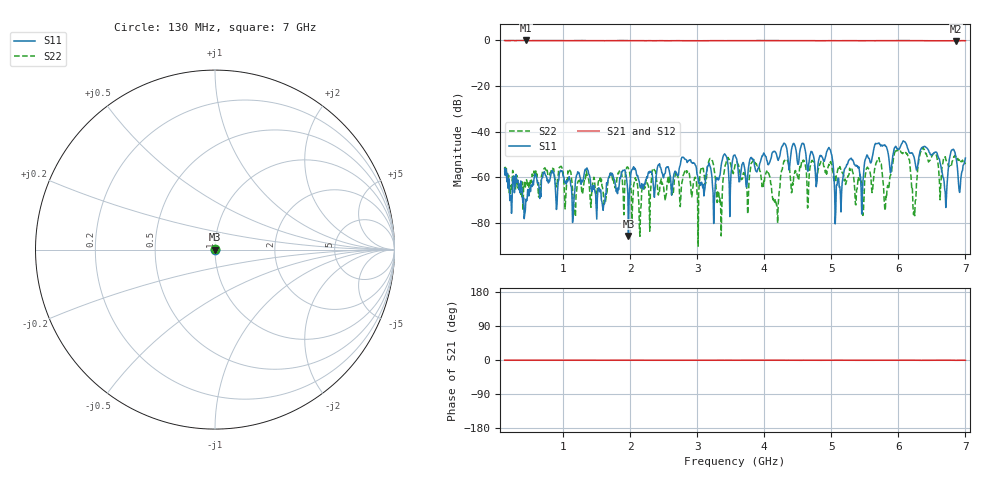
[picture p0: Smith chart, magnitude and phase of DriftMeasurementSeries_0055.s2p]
# Hz S RI R 50.000000
! Metas.Vna.Tools, 2.8.8664.20301
! Metas.Vna.Data, 2.8.8664.20285
! Created: UTC 2024.02.11 10:08:27
! FREQ  re:S1,1  im:S1,1  re:S2,1  im:S2,1  re:S1,2  im:S1,2  re:S2,2  im:S2,2
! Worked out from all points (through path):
!   801 points, 130 MHz to 7 GHz, reference 50 ohm
!   highest |S21| = 0.01 dB at 447.7 MHz (marker M1); lowest = -0.2 dB at 6.854 GHz (marker M2)
!   lowest |S11| = -85.6 dB at 1.976 GHz (marker M3), VSWR 1.00, Z = 50 + j0.00103 ohm
!   |S11| at or under -10 dB: start of sweep to end of sweep
!   |S22| runs from -90.1 to -46.9 dB; largest |S21 - S12| = 0.019
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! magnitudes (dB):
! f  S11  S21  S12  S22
! 130 MHz  -56.1  0.0  0.0  -57.5
! 447.7 MHz  -69.6  0.0  0.0  -62.2
! 1.281 GHz  -61.4  0.0  0.0  -66.4
! 1.976 GHz  -85.6  -0.1  0.0  -56.1
! 2.157 GHz  -64.6  -0.1  0.0  -74.5
! 2.423 GHz  -54.5  -0.1  0.0  -67.7
! 3.204 GHz  -56.1  -0.1  0.0  -51.7
! 3.333 GHz  -59.6  -0.1  0.0  -70.7
! 3.565 GHz  -50.2  -0.1  0.0  -54.7
! 4.175 GHz  -49.4  -0.1  0.0  -70.7
! 4.312 GHz  -45.4  -0.1  0.0  -52.3
! 4.716 GHz  -48.9  -0.1  0.0  -52.5
! 4.973 GHz  -47.5  -0.1  0.0  -54.8
! 5.085 GHz  -63.5  -0.1  0.0  -58.4
! 5.858 GHz  -51.4  -0.1  0.0  -65.1
! 5.987 GHz  -47.3  -0.1  0.0  -47.8
! 6.141 GHz  -47.5  -0.1  0.0  -50.4
! 6.236 GHz  -51.2  -0.1  0.0  -74.3
! 6.356 GHz  -46.8  -0.1  0.0  -47.5
! 6.699 GHz  -66.6  -0.1  0.0  -50.9
! 6.854 GHz  -50.4  -0.2  0.0  -50.8
! 7 GHz  -51.6  -0.1  0.0  -54.2
